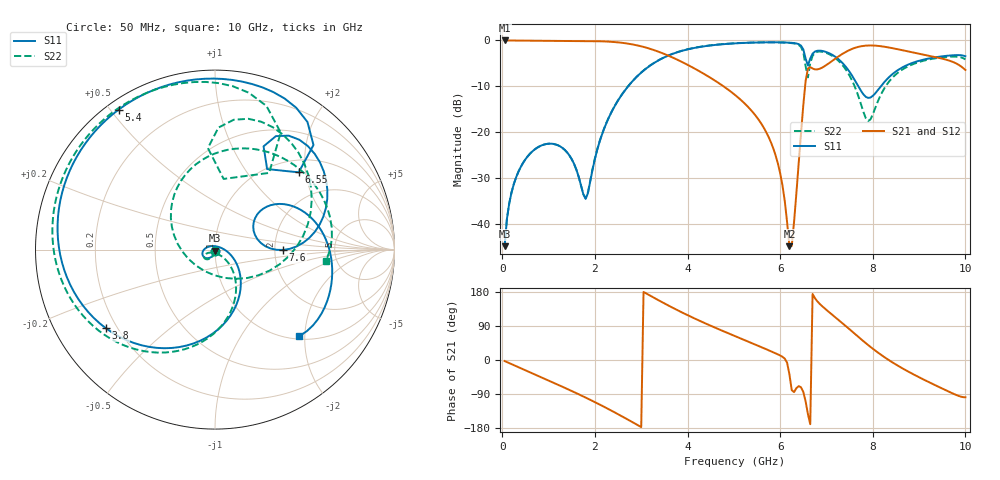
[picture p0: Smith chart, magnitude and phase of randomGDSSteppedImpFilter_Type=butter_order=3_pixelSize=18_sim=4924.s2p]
! freq	dB(S11)	phase(S11)	dB(S12)	phase(S12)
!  dB(S21)	phase(S21)	dB(S22)	phase(S22)
!S-par simulation data
#  GHz  S  DB  R 50
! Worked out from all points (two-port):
!   200 points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, 50 MHz to 10 GHz, reference 50 ohm
!   highest |S21| = 0.00 dB at 50 MHz (marker M1); lowest = -44.7 dB at 6.2 GHz (marker M2)
!   |S21| within 3 dB of the highest: start of sweep to 3.514 GHz; 7.332 GHz to 9.058 GHz (1.726 GHz wide, 21.1 % of centre)
!   lowest |S11| = -44.7 dB at 50 MHz (marker M3), VSWR 1.01, Z = 50 - j0.578 ohm
!   |S11| at or under -10 dB: start of sweep to 2.715 GHz; 7.69 GHz to 8.173 GHz (483 MHz wide, 6.09 % of centre)
!   |S22| runs from -44.7 to -0.4 dB; largest |S21 - S12| = 0
!   S11 on the Smith chart (normalised r, x): 50 MHz: 1.00, -0.01; 3.8 GHz: 0.16, -0.31; 5.4 GHz: 0.03, +0.53; 6.55 GHz: 1.27, +1.83; 7.6 GHz: 2.22, -0.01; 10 GHz: 1.06, -1.88
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0.05  -44.75 -92.9  -0.00 -2.7  -0.00 -2.7  -44.75 -92.5
0.25  -31.21 -105.2  -0.02 -13.6  -0.02 -13.6  -31.20 -102.7
0.75  -23.35 -135.6  -0.07 -40.5  -0.07 -40.5  -23.35 -127.3
1.35  -23.82 -176.4  -0.10 -73.4  -0.10 -73.4  -23.82 -152.4
1.75  -33.46 111.9  -0.11 -96.2  -0.11 -96.2  -33.44 -125.5
2.65  -10.84 -61.6  -0.60 -153.1  -0.60 -153.1  -10.80 -66.9
3.4  -4.18 -117.2  -2.55 155.9  -2.55 155.9  -4.15 -113.1
3.8  -2.50 -144.3  -4.29 130.4  -4.29 130.4  -2.47 -136.8
5.05  -0.62 143.3  -12.06 61.8  -12.06 61.8  -0.60 159.4
5.4  -0.47 124.5  -15.49 43.9  -15.49 43.9  -0.46 142.5
5.95  -0.41 93.5  -26.72 14.9  -26.72 14.9  -0.42 113.5
6.2  -0.49 77.4  -44.74 -37.6  -44.74 -37.6  -0.53 97.0
6.25  -0.52 73.7  -44.70 -79.5  -44.70 -79.5  -0.58 93.1
6.45  -1.13 54.1  -20.24 -71.9  -20.24 -71.9  -1.41 70.3
6.55  -3.95 42.7  -8.80 -109.4  -8.80 -109.4  -5.63 54.8
6.7  -2.88 61.8  -6.11 174.2  -6.11 174.2  -3.35 88.4
7.15  -3.28 24.2  -4.26 117.0  -4.26 117.0  -3.54 38.5
7.6  -8.43 -0.3  -1.66 70.3  -1.66 70.3  -9.77 -21.2
7.9  -12.49 19.8  -1.10 39.4  -1.10 39.4  -17.53 -116.5
8.35  -8.00 38.5  -1.54 -0.5  -1.54 -0.5  -8.96 132.0
9.15  -4.05 3.1  -3.19 -54.7  -3.19 -54.7  -4.28 64.7
10  -3.43 -45.7  -6.42 -98.4  -6.42 -98.4  -4.12 -5.7
